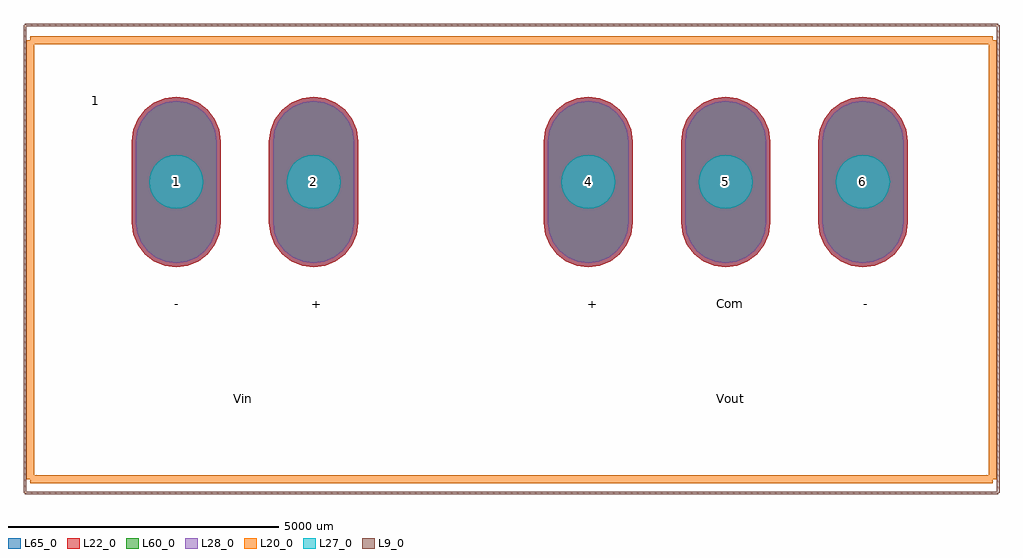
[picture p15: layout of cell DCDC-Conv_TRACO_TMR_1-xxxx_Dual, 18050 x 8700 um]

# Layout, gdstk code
import gdstk
lib = gdstk.Library(unit=1e-6, precision=1e-09)
def P(c, l, *ps):  # polygons
    for p in ps: c.add(gdstk.Polygon(p, *l))
L9_0 = (9, 0)
L20_0 = (20, 0)
L22_0 = (22, 0)
L27_0 = (27, 0)
L28_0 = (28, 0)
L60_0 = (60, 0)
L65_0 = (65, 0)

dcdc_conv_traco_tmr_1_xx = lib.new_cell('DCDC-Conv_TRACO_TMR_1-xxxx_Dual')
P(dcdc_conv_traco_tmr_1_xx, L22_0, [(12700,-1575),(12913.526,-1546.889),(13112.5,-1464.471),(13283.363,-1333.363),(13414.471,-1162.5),(13496.889,-963.526),(13525,-750),(13525,750),(13496.889,963.526),(13414.471,1162.5),(13283.363,1333.363),(13112.5,1464.471),(12913.526,1546.889),(12700,1575),(12486.474,1546.889),(12287.5,1464.471),(12116.637,1333.363),(11985.529,1162.5),(11903.111,963.526),(11875,750),(11875,-750),(11903.111,-963.526),(11985.529,-1162.5),(12116.637,-1333.363),(12287.5,-1464.471),(12486.474,-1546.889)],
  [(10160,-1575),(10373.526,-1546.889),(10572.5,-1464.471),(10743.363,-1333.363),(10874.471,-1162.5),(10956.889,-963.526),(10985,-750),(10985,750),(10956.889,963.526),(10874.471,1162.5),(10743.363,1333.363),(10572.5,1464.471),(10373.526,1546.889),(10160,1575),(9946.474,1546.889),(9747.5,1464.471),(9576.637,1333.363),(9445.529,1162.5),(9363.111,963.526),(9335,750),(9335,-750),(9363.111,-963.526),(9445.529,-1162.5),(9576.637,-1333.363),(9747.5,-1464.471),(9946.474,-1546.889)],
  [(7620,-1575),(7833.526,-1546.889),(8032.5,-1464.471),(8203.363,-1333.363),(8334.471,-1162.5),(8416.889,-963.526),(8445,-750),(8445,750),(8416.889,963.526),(8334.471,1162.5),(8203.363,1333.363),(8032.5,1464.471),(7833.526,1546.889),(7620,1575),(7406.474,1546.889),(7207.5,1464.471),(7036.637,1333.363),(6905.529,1162.5),(6823.111,963.526),(6795,750),(6795,-750),(6823.111,-963.526),(6905.529,-1162.5),(7036.637,-1333.363),(7207.5,-1464.471),(7406.474,-1546.889)],
  [(2540,-1575),(2753.526,-1546.889),(2952.5,-1464.471),(3123.363,-1333.363),(3254.471,-1162.5),(3336.889,-963.526),(3365,-750),(3365,750),(3336.889,963.526),(3254.471,1162.5),(3123.363,1333.363),(2952.5,1464.471),(2753.526,1546.889),(2540,1575),(2326.474,1546.889),(2127.5,1464.471),(1956.637,1333.363),(1825.529,1162.5),(1743.111,963.526),(1715,750),(1715,-750),(1743.111,-963.526),(1825.529,-1162.5),(1956.637,-1333.363),(2127.5,-1464.471),(2326.474,-1546.889)],
  [(0,-1575),(213.526,-1546.889),(412.5,-1464.471),(583.363,-1333.363),(714.471,-1162.5),(796.889,-963.526),(825,-750),(825,750),(796.889,963.526),(714.471,1162.5),(583.363,1333.363),(412.5,1464.471),(213.526,1546.889),(0,1575),(-213.526,1546.889),(-412.5,1464.471),(-583.363,1333.363),(-714.471,1162.5),(-796.889,963.526),(-825,750),(-825,-750),(-796.889,-963.526),(-714.471,-1162.5),(-583.363,-1333.363),(-412.5,-1464.471),(-213.526,-1546.889)])
P(dcdc_conv_traco_tmr_1_xx, L27_0, [(13199.999,0),(13190.392,97.545),(13161.939,191.341),(13115.734,277.785),(13053.553,353.553),(12977.785,415.734),(12891.341,461.939),(12797.545,490.392),(12700,499.999),(12602.455,490.392),(12508.659,461.939),(12422.215,415.734),(12346.447,353.553),(12284.266,277.785),(12238.061,191.341),(12209.608,97.545),(12200.001,0),(12209.608,-97.545),(12238.061,-191.341),(12284.266,-277.785),(12346.447,-353.553),(12422.215,-415.734),(12508.659,-461.939),(12602.455,-490.392),(12700,-499.999),(12797.545,-490.392),(12891.341,-461.939),(12977.785,-415.734),(13053.553,-353.553),(13115.734,-277.785),(13161.939,-191.341),(13190.392,-97.545)],
  [(10659.999,0),(10650.392,97.545),(10621.939,191.341),(10575.734,277.785),(10513.553,353.553),(10437.785,415.734),(10351.341,461.939),(10257.545,490.392),(10160,499.999),(10062.455,490.392),(9968.659,461.939),(9882.215,415.734),(9806.447,353.553),(9744.266,277.785),(9698.061,191.341),(9669.608,97.545),(9660.001,0),(9669.608,-97.545),(9698.061,-191.341),(9744.266,-277.785),(9806.447,-353.553),(9882.215,-415.734),(9968.659,-461.939),(10062.455,-490.392),(10160,-499.999),(10257.545,-490.392),(10351.341,-461.939),(10437.785,-415.734),(10513.553,-353.553),(10575.734,-277.785),(10621.939,-191.341),(10650.392,-97.545)],
  [(8119.999,0),(8110.392,97.545),(8081.939,191.341),(8035.734,277.785),(7973.553,353.553),(7897.785,415.734),(7811.341,461.939),(7717.545,490.392),(7620,499.999),(7522.455,490.392),(7428.659,461.939),(7342.215,415.734),(7266.447,353.553),(7204.266,277.785),(7158.061,191.341),(7129.608,97.545),(7120.001,0),(7129.608,-97.545),(7158.061,-191.341),(7204.266,-277.785),(7266.447,-353.553),(7342.215,-415.734),(7428.659,-461.939),(7522.455,-490.392),(7620,-499.999),(7717.545,-490.392),(7811.341,-461.939),(7897.785,-415.734),(7973.553,-353.553),(8035.734,-277.785),(8081.939,-191.341),(8110.392,-97.545)],
  [(3039.999,0),(3030.392,97.545),(3001.939,191.341),(2955.734,277.785),(2893.553,353.553),(2817.785,415.734),(2731.341,461.939),(2637.545,490.392),(2540,499.999),(2442.455,490.392),(2348.659,461.939),(2262.215,415.734),(2186.447,353.553),(2124.266,277.785),(2078.061,191.341),(2049.608,97.545),(2040.001,0),(2049.608,-97.545),(2078.061,-191.341),(2124.266,-277.785),(2186.447,-353.553),(2262.215,-415.734),(2348.659,-461.939),(2442.455,-490.392),(2540,-499.999),(2637.545,-490.392),(2731.341,-461.939),(2817.785,-415.734),(2893.553,-353.553),(2955.734,-277.785),(3001.939,-191.341),(3030.392,-97.545)],
  [(499.999,0),(490.392,97.545),(461.939,191.341),(415.734,277.785),(353.553,353.553),(277.785,415.734),(191.341,461.939),(97.545,490.392),(0,499.999),(-97.545,490.392),(-191.341,461.939),(-277.785,415.734),(-353.553,353.553),(-415.734,277.785),(-461.939,191.341),(-490.392,97.545),(-499.999,0),(-490.392,-97.545),(-461.939,-191.341),(-415.734,-277.785),(-353.553,-353.553),(-277.785,-415.734),(-191.341,-461.939),(-97.545,-490.392),(0,-499.999),(97.545,-490.392),(191.341,-461.939),(277.785,-415.734),(353.553,-353.553),(415.734,-277.785),(461.939,-191.341),(490.392,-97.545)])
P(dcdc_conv_traco_tmr_1_xx, L28_0, [(12700,-1500),(12894.114,-1474.444),(13075,-1399.519),(13230.33,-1280.33),(13349.519,-1125),(13424.444,-944.114),(13450,-750),(13450,750),(13424.444,944.114),(13349.519,1125),(13230.33,1280.33),(13075,1399.519),(12894.114,1474.444),(12700,1500),(12505.886,1474.444),(12325,1399.519),(12169.67,1280.33),(12050.481,1125),(11975.556,944.114),(11950,750),(11950,-750),(11975.556,-944.114),(12050.481,-1125),(12169.67,-1280.33),(12325,-1399.519),(12505.886,-1474.444)],
  [(10160,-1500),(10354.114,-1474.444),(10535,-1399.519),(10690.33,-1280.33),(10809.519,-1125),(10884.444,-944.114),(10910,-750),(10910,750),(10884.444,944.114),(10809.519,1125),(10690.33,1280.33),(10535,1399.519),(10354.114,1474.444),(10160,1500),(9965.886,1474.444),(9785,1399.519),(9629.67,1280.33),(9510.481,1125),(9435.556,944.114),(9410,750),(9410,-750),(9435.556,-944.114),(9510.481,-1125),(9629.67,-1280.33),(9785,-1399.519),(9965.886,-1474.444)],
  [(7620,-1500),(7814.114,-1474.444),(7995,-1399.519),(8150.33,-1280.33),(8269.519,-1125),(8344.444,-944.114),(8370,-750),(8370,750),(8344.444,944.114),(8269.519,1125),(8150.33,1280.33),(7995,1399.519),(7814.114,1474.444),(7620,1500),(7425.886,1474.444),(7245,1399.519),(7089.67,1280.33),(6970.481,1125),(6895.556,944.114),(6870,750),(6870,-750),(6895.556,-944.114),(6970.481,-1125),(7089.67,-1280.33),(7245,-1399.519),(7425.886,-1474.444)],
  [(2540,-1500),(2734.114,-1474.444),(2915,-1399.519),(3070.33,-1280.33),(3189.519,-1125),(3264.444,-944.114),(3290,-750),(3290,750),(3264.444,944.114),(3189.519,1125),(3070.33,1280.33),(2915,1399.519),(2734.114,1474.444),(2540,1500),(2345.886,1474.444),(2165,1399.519),(2009.67,1280.33),(1890.481,1125),(1815.556,944.114),(1790,750),(1790,-750),(1815.556,-944.114),(1890.481,-1125),(2009.67,-1280.33),(2165,-1399.519),(2345.886,-1474.444)],
  [(0,-1500),(194.114,-1474.444),(375,-1399.519),(530.33,-1280.33),(649.519,-1125),(724.444,-944.114),(750,-750),(750,750),(724.444,944.114),(649.519,1125),(530.33,1280.33),(375,1399.519),(194.114,1474.444),(0,1500),(-194.114,1474.444),(-375,1399.519),(-530.33,1280.33),(-649.519,1125),(-724.444,944.114),(-750,750),(-750,-750),(-724.444,-944.114),(-649.519,-1125),(-530.33,-1280.33),(-375,-1399.519),(-194.114,-1474.444)])
P(dcdc_conv_traco_tmr_1_xx, L60_0, [(12700,-1500),(12894.114,-1474.444),(13075,-1399.519),(13230.33,-1280.33),(13349.519,-1125),(13424.444,-944.114),(13450,-750),(13450,750),(13424.444,944.114),(13349.519,1125),(13230.33,1280.33),(13075,1399.519),(12894.114,1474.444),(12700,1500),(12505.886,1474.444),(12325,1399.519),(12169.67,1280.33),(12050.481,1125),(11975.556,944.114),(11950,750),(11950,-750),(11975.556,-944.114),(12050.481,-1125),(12169.67,-1280.33),(12325,-1399.519),(12505.886,-1474.444)],
  [(10160,-1500),(10354.114,-1474.444),(10535,-1399.519),(10690.33,-1280.33),(10809.519,-1125),(10884.444,-944.114),(10910,-750),(10910,750),(10884.444,944.114),(10809.519,1125),(10690.33,1280.33),(10535,1399.519),(10354.114,1474.444),(10160,1500),(9965.886,1474.444),(9785,1399.519),(9629.67,1280.33),(9510.481,1125),(9435.556,944.114),(9410,750),(9410,-750),(9435.556,-944.114),(9510.481,-1125),(9629.67,-1280.33),(9785,-1399.519),(9965.886,-1474.444)],
  [(7620,-1500),(7814.114,-1474.444),(7995,-1399.519),(8150.33,-1280.33),(8269.519,-1125),(8344.444,-944.114),(8370,-750),(8370,750),(8344.444,944.114),(8269.519,1125),(8150.33,1280.33),(7995,1399.519),(7814.114,1474.444),(7620,1500),(7425.886,1474.444),(7245,1399.519),(7089.67,1280.33),(6970.481,1125),(6895.556,944.114),(6870,750),(6870,-750),(6895.556,-944.114),(6970.481,-1125),(7089.67,-1280.33),(7245,-1399.519),(7425.886,-1474.444)],
  [(2540,-1500),(2734.114,-1474.444),(2915,-1399.519),(3070.33,-1280.33),(3189.519,-1125),(3264.444,-944.114),(3290,-750),(3290,750),(3264.444,944.114),(3189.519,1125),(3070.33,1280.33),(2915,1399.519),(2734.114,1474.444),(2540,1500),(2345.886,1474.444),(2165,1399.519),(2009.67,1280.33),(1890.481,1125),(1815.556,944.114),(1790,750),(1790,-750),(1815.556,-944.114),(1890.481,-1125),(2009.67,-1280.33),(2165,-1399.519),(2345.886,-1474.444)],
  [(0,-1500),(194.114,-1474.444),(375,-1399.519),(530.33,-1280.33),(649.519,-1125),(724.444,-944.114),(750,-750),(750,750),(724.444,944.114),(649.519,1125),(530.33,1280.33),(375,1399.519),(194.114,1474.444),(0,1500),(-194.114,1474.444),(-375,1399.519),(-530.33,1280.33),(-649.519,1125),(-724.444,944.114),(-750,750),(-750,-750),(-724.444,-944.114),(-649.519,-1125),(-530.33,-1280.33),(-375,-1399.519),(-194.114,-1474.444)])
P(dcdc_conv_traco_tmr_1_xx, L65_0, [(12700,-1575),(12913.526,-1546.889),(13112.5,-1464.471),(13283.363,-1333.363),(13414.471,-1162.5),(13496.889,-963.526),(13525,-750),(13525,750),(13496.889,963.526),(13414.471,1162.5),(13283.363,1333.363),(13112.5,1464.471),(12913.526,1546.889),(12700,1575),(12486.474,1546.889),(12287.5,1464.471),(12116.637,1333.363),(11985.529,1162.5),(11903.111,963.526),(11875,750),(11875,-750),(11903.111,-963.526),(11985.529,-1162.5),(12116.637,-1333.363),(12287.5,-1464.471),(12486.474,-1546.889)],
  [(10160,-1575),(10373.526,-1546.889),(10572.5,-1464.471),(10743.363,-1333.363),(10874.471,-1162.5),(10956.889,-963.526),(10985,-750),(10985,750),(10956.889,963.526),(10874.471,1162.5),(10743.363,1333.363),(10572.5,1464.471),(10373.526,1546.889),(10160,1575),(9946.474,1546.889),(9747.5,1464.471),(9576.637,1333.363),(9445.529,1162.5),(9363.111,963.526),(9335,750),(9335,-750),(9363.111,-963.526),(9445.529,-1162.5),(9576.637,-1333.363),(9747.5,-1464.471),(9946.474,-1546.889)],
  [(7620,-1575),(7833.526,-1546.889),(8032.5,-1464.471),(8203.363,-1333.363),(8334.471,-1162.5),(8416.889,-963.526),(8445,-750),(8445,750),(8416.889,963.526),(8334.471,1162.5),(8203.363,1333.363),(8032.5,1464.471),(7833.526,1546.889),(7620,1575),(7406.474,1546.889),(7207.5,1464.471),(7036.637,1333.363),(6905.529,1162.5),(6823.111,963.526),(6795,750),(6795,-750),(6823.111,-963.526),(6905.529,-1162.5),(7036.637,-1333.363),(7207.5,-1464.471),(7406.474,-1546.889)],
  [(2540,-1575),(2753.526,-1546.889),(2952.5,-1464.471),(3123.363,-1333.363),(3254.471,-1162.5),(3336.889,-963.526),(3365,-750),(3365,750),(3336.889,963.526),(3254.471,1162.5),(3123.363,1333.363),(2952.5,1464.471),(2753.526,1546.889),(2540,1575),(2326.474,1546.889),(2127.5,1464.471),(1956.637,1333.363),(1825.529,1162.5),(1743.111,963.526),(1715,750),(1715,-750),(1743.111,-963.526),(1825.529,-1162.5),(1956.637,-1333.363),(2127.5,-1464.471),(2326.474,-1546.889)],
  [(0,-1575),(213.526,-1546.889),(412.5,-1464.471),(583.363,-1333.363),(714.471,-1162.5),(796.889,-963.526),(825,-750),(825,750),(796.889,963.526),(714.471,1162.5),(583.363,1333.363),(412.5,1464.471),(213.526,1546.889),(0,1575),(-213.526,1546.889),(-412.5,1464.471),(-583.363,1333.363),(-714.471,1162.5),(-796.889,963.526),(-825,750),(-825,-750),(-796.889,-963.526),(-714.471,-1162.5),(-583.363,-1333.363),(-412.5,-1464.471),(-213.526,-1546.889)])
dcdc_conv_traco_tmr_1_xx.add(gdstk.FlexPath([(15200,2900),(15200,-5750)], 50, ends="flush", simple_path=True, layer=9, datatype=0))  # L9_0
dcdc_conv_traco_tmr_1_xx.add(gdstk.FlexPath([(15100,2620),(15100,-5500)], 149.998, ends="flush", simple_path=True, layer=20, datatype=0))  # L20_0
dcdc_conv_traco_tmr_1_xx.add(gdstk.FlexPath([(15100,2620),(-2700,2620)], 149.998, ends="flush", simple_path=True, layer=20, datatype=0))  # L20_0
dcdc_conv_traco_tmr_1_xx.add(gdstk.FlexPath([(-2700,2620),(-2700,-5500)], 149.998, ends="flush", simple_path=True, layer=20, datatype=0))  # L20_0
dcdc_conv_traco_tmr_1_xx.add(gdstk.FlexPath([(15100,-5500),(-2700,-5500)], 149.998, ends="flush", simple_path=True, layer=20, datatype=0))  # L20_0
dcdc_conv_traco_tmr_1_xx.add(gdstk.FlexPath([(-2800,2900),(15200,2900)], 50, ends="flush", simple_path=True, layer=9, datatype=0))  # L9_0
dcdc_conv_traco_tmr_1_xx.add(gdstk.FlexPath([(-2800,-5750),(15200,-5750)], 50, ends="flush", simple_path=True, layer=9, datatype=0))  # L9_0
dcdc_conv_traco_tmr_1_xx.add(gdstk.FlexPath([(-2800,2900),(-2800,-5750)], 50, ends="flush", simple_path=True, layer=9, datatype=0))  # L9_0
dcdc_conv_traco_tmr_1_xx.add(gdstk.Label('6', (12700,0), layer=28, texttype=0))
dcdc_conv_traco_tmr_1_xx.add(gdstk.Label('5', (10160,0), layer=28, texttype=0))
dcdc_conv_traco_tmr_1_xx.add(gdstk.Label('4', (7620,0), layer=28, texttype=0))
dcdc_conv_traco_tmr_1_xx.add(gdstk.Label('2', (2540,0), layer=28, texttype=0))
dcdc_conv_traco_tmr_1_xx.add(gdstk.Label('1', (0,0), layer=28, texttype=0))
dcdc_conv_traco_tmr_1_xx.add(gdstk.Label('+', (2600,-2250), layer=9, texttype=0))
dcdc_conv_traco_tmr_1_xx.add(gdstk.Label('-', (0,-2250), layer=9, texttype=0))
dcdc_conv_traco_tmr_1_xx.add(gdstk.Label('-', (12750,-2250), layer=9, texttype=0))
dcdc_conv_traco_tmr_1_xx.add(gdstk.Label('+', (7700,-2250), layer=9, texttype=0))
dcdc_conv_traco_tmr_1_xx.add(gdstk.Label('Com', (10250,-2250), layer=9, texttype=0))
dcdc_conv_traco_tmr_1_xx.add(gdstk.Label('Vin', (1250,-4000), layer=9, texttype=0))
dcdc_conv_traco_tmr_1_xx.add(gdstk.Label('Vout', (10250,-4000), layer=9, texttype=0))
dcdc_conv_traco_tmr_1_xx.add(gdstk.Label('1', (-1500,1500), layer=9, texttype=0))
dcdc_conv_traco_tmr_1_xx.add(gdstk.Label('type', (6500,-6500), layer=9, texttype=0))
dcdc_conv_traco_tmr_1_xx.add(gdstk.Label('devicename', (6500,3500), layer=9, texttype=0))

lib.write_gds('DCDC-Conv_TRACO_TMR_1-xxxx_Dual.gds')
